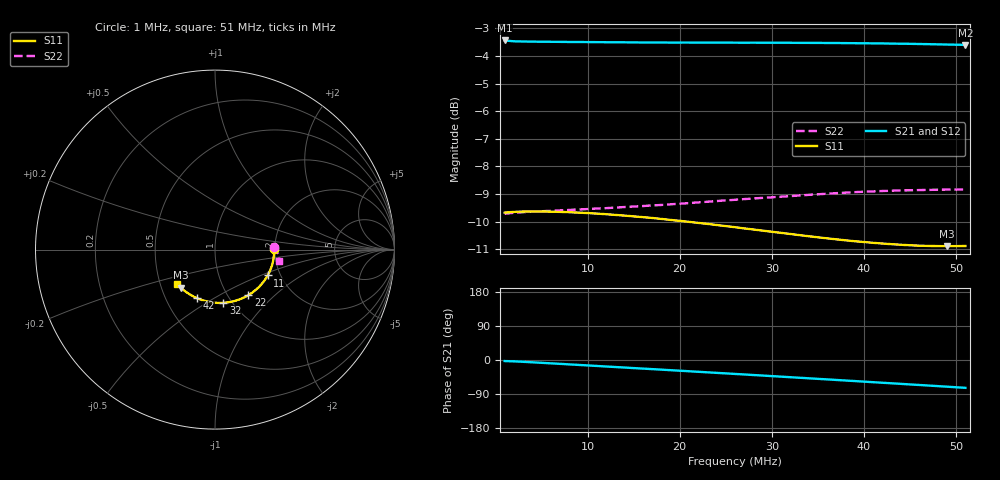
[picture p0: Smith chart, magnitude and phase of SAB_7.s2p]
# MHz S RI R 50
! S-Parameters data
! Freq  reS11  imS11  reS21  imS21  reS12  imS12  reS22  imS22
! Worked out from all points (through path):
!   51 points, 1 MHz to 51 MHz, reference 50 ohm
!   highest |S21| = -3.43 dB at 1 MHz (marker M1); lowest = -3.6 dB at 51 MHz (marker M2)
!   group delay of S21, straight-line fit = 3.96 ns
!   lowest |S11| = -10.9 dB at 49 MHz (marker M3), VSWR 1.80, Z = 31.4 - j14.4 ohm
!   |S11| at or under -10 dB: 20.67 MHz to end of sweep
!   |S22| runs from -9.7 to -8.8 dB; largest |S21 - S12| = 0.0025
!   S11 on the Smith chart (normalised r, x): 1 MHz: 1.98, +0.01; 11 MHz: 1.72, -0.55; 22 MHz: 1.24, -0.70; 32 MHz: 0.91, -0.59; 42 MHz: 0.71, -0.42; 51 MHz: 0.61, -0.25
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1  0.3282 0.0022  0.6726 -0.0325  0.6744 -0.0324  0.3262 0.0157
2  0.3287 -0.0186  0.6697 -0.0418  0.6716 -0.0417  0.3278 0.00867
5  0.3234 -0.0641  0.6642 -0.0865  0.666 -0.0866  0.33 0.00372
8  0.3114 -0.1054  0.6556 -0.1338  0.6573 -0.1341  0.3318 0.00189
10  0.3001 -0.1315  0.6481 -0.1655  0.6497 -0.1658  0.3331 0.000549
11  0.2934 -0.144  0.6437 -0.1811  0.6454 -0.1815  0.3338 0
14  0.27 -0.1793  0.6283 -0.2275  0.6299 -0.2281  0.3359 -0.00191
18  0.2313 -0.2207  0.6029 -0.2869  0.6044 -0.2885  0.3388 -0.00424
20  0.209 -0.2385  0.5879 -0.3161  0.5893 -0.3177  0.3406 -0.006
22  0.185 -0.2542  0.5716 -0.3446  0.5728 -0.3464  0.3424 -0.00795
24  0.1597 -0.2676  0.5538 -0.3724  0.5547 -0.3744  0.3443 -0.0102
26  0.1329 -0.2788  0.5345 -0.3993  0.5353 -0.4014  0.346 -0.0127
29  0.0906 -0.2906  0.503 -0.4381  0.5036 -0.4404  0.3486 -0.0171
32  0.0466 -0.2966  0.4684 -0.4747  0.4688 -0.4769  0.3509 -0.022
35  0.00185 -0.296  0.4307 -0.5087  0.4308 -0.5109  0.3532 -0.0273
38  -0.0429 -0.2892  0.3903 -0.5396  0.39 -0.5417  0.3551 -0.0332
40  -0.0722 -0.2812  0.3618 -0.5586  0.3615 -0.5604  0.3561 -0.0372
42  -0.1009 -0.2702  0.3323 -0.5762  0.3319 -0.5777  0.3568 -0.0418
43  -0.1148 -0.2637  0.317 -0.5841  0.3166 -0.5858  0.3569 -0.0441
46  -0.1549 -0.2402  0.2704 -0.6059  0.2696 -0.6076  0.3569 -0.0511
49  -0.1918 -0.2112  0.2219 -0.6237  0.2208 -0.6252  0.3565 -0.0583
51  -0.2141 -0.1889  0.1886 -0.6336  0.1876 -0.6348  0.3558 -0.0632
